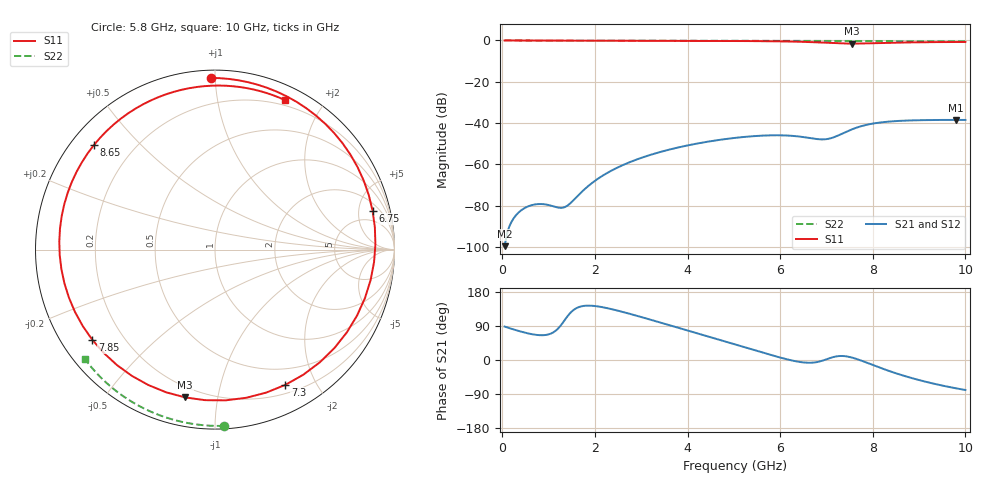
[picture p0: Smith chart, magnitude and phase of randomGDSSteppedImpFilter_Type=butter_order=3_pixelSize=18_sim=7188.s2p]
! freq	dB(S11)	phase(S11)	dB(S12)	phase(S12)
!  dB(S21)	phase(S21)	dB(S22)	phase(S22)
!S-par simulation data
#  GHz  S  DB  R 50
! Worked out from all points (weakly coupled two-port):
!   200 points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, 50 MHz to 10 GHz, reference 50 ohm
!   highest |S21| = -38.50 dB at 9.8 GHz (marker M1); lowest = -99.7 dB at 50 MHz (marker M2)
!   lowest |S11| = -1.5 dB at 7.55 GHz (marker M3), VSWR 11.51, Z = 7.22 - j40.4 ohm
!   |S11| at or under -10 dB: nowhere
!   |S22| runs from -0.5 to 0.0 dB; largest |S21 - S12| = 0
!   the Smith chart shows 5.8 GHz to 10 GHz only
!   S11 on the Smith chart (normalised r, x): 5.8 GHz: 0.04, +0.98; 6.75 GHz: 2.96, +7.02; 7.3 GHz: 0.30, -1.61; 7.85 GHz: 0.09, -0.33; 8.65 GHz: 0.07, +0.37; 10 GHz: 0.14, +1.56
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0.05  -0.00 -3.2  -99.68 88.2  -99.68 88.2  -0.00 -0.8
0.95  -0.07 -57.5  -79.52 66.3  -79.52 66.3  -0.02 -15.3
1.4  -0.09 -81.9  -80.14 114.2  -80.14 114.2  -0.03 -22.5
1.75  -0.11 -99.3  -72.64 142.6  -72.64 142.6  -0.04 -28.0
2.6  -0.14 -136.6  -60.42 126.9  -60.42 126.9  -0.05 -41.1
3.4  -0.16 -167.6  -54.11 99.3  -54.11 99.3  -0.07 -53.2
4.25  -0.20 160.8  -49.78 68.9  -49.78 68.9  -0.09 -65.6
5.05  -0.27 128.7  -47.15 40.0  -47.15 40.0  -0.12 -76.9
5.8  -0.38 91.3  -45.97 13.2  -45.97 13.2  -0.15 -87.1
6.3  -0.56 57.2  -46.30 -2.4  -46.30 -2.4  -0.17 -93.7
6.7  -0.83 19.5  -47.49 -7.0  -47.49 -7.0  -0.19 -98.9
6.75  -0.87 13.8  -47.65 -6.4  -47.65 -6.4  -0.19 -99.6
7.05  -1.18 -24.9  -47.62 4.0  -47.62 4.0  -0.21 -103.4
7.3  -1.42 -62.5  -45.56 10.6  -45.56 10.6  -0.23 -106.6
7.55  -1.51 -101.4  -43.08 6.5  -43.08 6.5  -0.25 -109.8
7.85  -1.43 -143.6  -40.97 -6.1  -40.97 -6.1  -0.27 -113.5
8.1  -1.28 -172.8  -39.93 -17.8  -39.93 -17.8  -0.29 -116.7
8.35  -1.14 163.1  -39.31 -28.9  -39.31 -28.9  -0.31 -119.7
8.65  -1.00 139.3  -38.89 -40.8  -38.89 -40.8  -0.33 -123.4
9.2  -0.83 104.6  -38.57 -59.1  -38.57 -59.1  -0.39 -130.2
9.8  -0.74 74.1  -38.50 -74.8  -38.50 -74.8  -0.45 -137.5
10  -0.73 64.9  -38.51 -79.2  -38.51 -79.2  -0.47 -139.9
